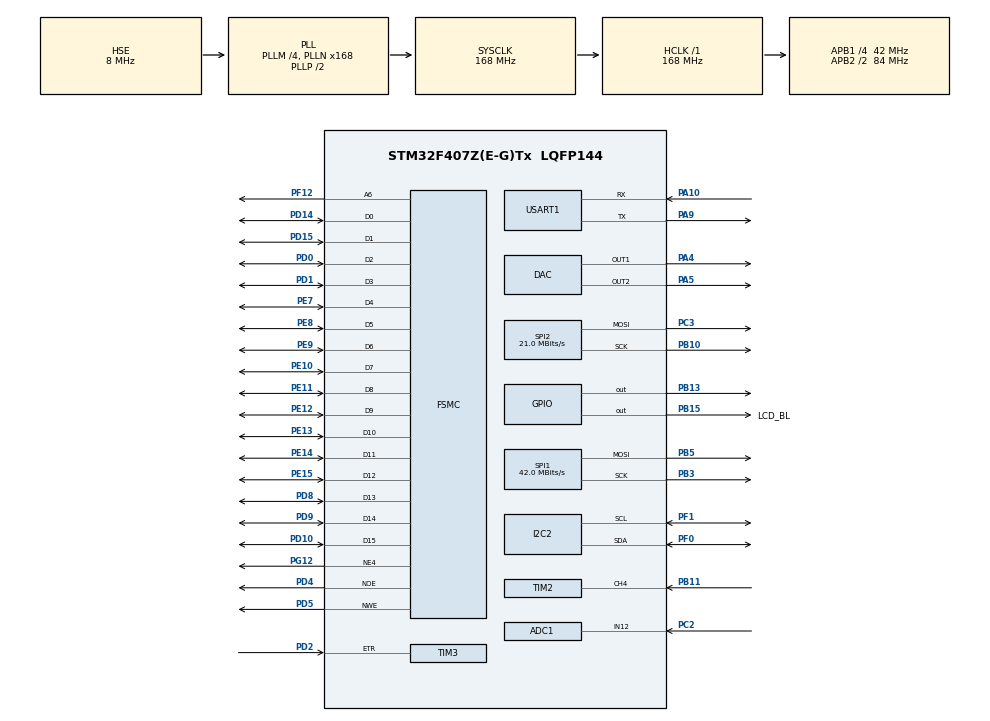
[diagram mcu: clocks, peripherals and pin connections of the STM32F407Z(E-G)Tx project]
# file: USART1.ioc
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ADC1.Channel-1\#ChannelRegularConversion=ADC_CHANNEL_12
ADC1.ClockPrescaler=ADC_CLOCK_SYNC_PCLK_DIV4
ADC1.ContinuousConvMode=DISABLE
ADC1.DMAContinuousRequests=ENABLE
ADC1.DiscontinuousConvMode=ENABLE
ADC1.EOCSelection=ADC_EOC_SEQ_CONV
ADC1.EnableAnalogWatchDog=false
ADC1.ExternalTrigConv=ADC_EXTERNALTRIGCONV_T3_TRGO
ADC1.InjNumberOfConversion=0
ADC1.NbrOfConversion=1
ADC1.NbrOfConversionFlag=1
ADC1.Rank-1\#ChannelRegularConversion=1
ADC1.Resolution=ADC_RESOLUTION_12B
ADC1.SamplingTime-1\#ChannelRegularConversion=ADC_SAMPLETIME_15CYCLES
ADC1.ScanConvMode=ENABLE
ADC1.master=1
DAC.DAC_OutputBuffer=DAC_OUTPUTBUFFER_DISABLE
DAC.DAC_Trigger=DAC_TRIGGER_T5_TRGO
Dma.ADC1.1.Direction=DMA_PERIPH_TO_MEMORY
Dma.ADC1.1.FIFOMode=DMA_FIFOMODE_DISABLE
Dma.ADC1.1.Instance=DMA2_Stream0
Dma.ADC1.1.MemDataAlignment=DMA_MDATAALIGN_HALFWORD
Dma.ADC1.1.MemInc=DMA_MINC_ENABLE
Dma.ADC1.1.Mode=DMA_NORMAL
Dma.ADC1.1.PeriphDataAlignment=DMA_PDATAALIGN_HALFWORD
Dma.ADC1.1.PeriphInc=DMA_PINC_DISABLE
Dma.ADC1.1.Priority=DMA_PRIORITY_LOW
Dma.DAC1.3.Direction=DMA_MEMORY_TO_PERIPH
Dma.DAC1.3.FIFOMode=DMA_FIFOMODE_DISABLE
Dma.DAC1.3.Instance=DMA1_Stream5
Dma.DAC1.3.MemDataAlignment=DMA_MDATAALIGN_HALFWORD
Dma.DAC1.3.MemInc=DMA_MINC_ENABLE
Dma.DAC1.3.Mode=DMA_CIRCULAR
Dma.DAC1.3.PeriphDataAlignment=DMA_PDATAALIGN_HALFWORD
Dma.DAC1.3.PeriphInc=DMA_PINC_DISABLE
Dma.DAC1.3.Priority=DMA_PRIORITY_LOW
Dma.Request0=SPI1_TX
Dma.Request1=ADC1
Dma.Request2=SPI2_TX
Dma.Request3=DAC1
Dma.SPI1_TX.0.Direction=DMA_MEMORY_TO_PERIPH
Dma.SPI1_TX.0.FIFOMode=DMA_FIFOMODE_DISABLE
Dma.SPI1_TX.0.Instance=DMA2_Stream3
Dma.SPI1_TX.0.MemDataAlignment=DMA_MDATAALIGN_BYTE
Dma.SPI1_TX.0.MemInc=DMA_MINC_ENABLE
Dma.SPI1_TX.0.Mode=DMA_NORMAL
Dma.SPI1_TX.0.PeriphDataAlignment=DMA_PDATAALIGN_BYTE
Dma.SPI1_TX.0.PeriphInc=DMA_PINC_DISABLE
Dma.SPI1_TX.0.Priority=DMA_PRIORITY_LOW
Dma.SPI2_TX.2.Direction=DMA_MEMORY_TO_PERIPH
Dma.SPI2_TX.2.FIFOMode=DMA_FIFOMODE_DISABLE
Dma.SPI2_TX.2.Instance=DMA1_Stream4
Dma.SPI2_TX.2.MemDataAlignment=DMA_MDATAALIGN_BYTE
Dma.SPI2_TX.2.MemInc=DMA_MINC_ENABLE
Dma.SPI2_TX.2.Mode=DMA_NORMAL
Dma.SPI2_TX.2.PeriphDataAlignment=DMA_PDATAALIGN_BYTE
Dma.SPI2_TX.2.PeriphInc=DMA_PINC_DISABLE
Dma.SPI2_TX.2.Priority=DMA_PRIORITY_LOW
FSMC.AddressSetupTime1=2
FSMC.BusTurnAroundDuration1=10
FSMC.DataSetupTime1=10
FSMC.ExtendedAddressSetupTime1=3
FSMC.ExtendedBusTurnAroundDuration1=3
FSMC.ExtendedDataSetupTime1=3
FSMC.ExtendedMode1=FSMC_EXTENDED_MODE_ENABLE
Mcu.Family=STM32F4
Mcu.Name=STM32F407Z(E-G)Tx
Mcu.Package=LQFP144
NVIC.ADC_IRQn=true\:3\:0\:true\:false\:true\:true\:true\:true
NVIC.DMA1_Stream4_IRQn=true\:0\:0\:false\:false\:true\:false\:true\:true
NVIC.DMA1_Stream5_IRQn=true\:0\:0\:false\:false\:true\:false\:true\:true
NVIC.DMA2_Stream0_IRQn=true\:0\:0\:false\:false\:true\:false\:true\:true
NVIC.DMA2_Stream3_IRQn=true\:0\:0\:false\:false\:true\:false\:true\:true
NVIC.PriorityGroup=NVIC_PRIORITYGROUP_4
NVIC.TIM2_IRQn=true\:0\:0\:false\:false\:true\:true\:true\:true
NVIC.TIM4_IRQn=true\:13\:0\:true\:false\:true\:true\:true\:true
NVIC.TIM6_DAC_IRQn=true\:0\:0\:false\:false\:true\:true\:true\:true
PA10.Mode=Asynchronous
PA10.Signal=USART1_RX
PA13.Mode=Serial_Wire
PA13.Signal=SYS_JTMS-SWDIO
PA14.Mode=Serial_Wire
PA14.Signal=SYS_JTCK-SWCLK
PA4.Signal=COMP_DAC1_group
PA5.Signal=COMP_DAC2_group
PA9.Mode=Asynchronous
PA9.Signal=USART1_TX
PB10.Mode=TX_Only_Simplex_Unidirect_Master
PB10.Signal=SPI2_SCK
PB11.Signal=S_TIM2_CH4
PB13.Signal=GPIO_Output
PB15.GPIO_Label=LCD_BL
PB15.GPIO_ModeDefaultOutputPP=GPIO_MODE_OUTPUT_PP
PB15.GPIO_PuPd=GPIO_PULLUP
PB15.GPIO_Speed=GPIO_SPEED_FREQ_HIGH
PB15.Signal=GPIO_Output
PB3.Mode=TX_Only_Simplex_Unidirect_Master
PB3.Signal=SPI1_SCK
PB5.Mode=TX_Only_Simplex_Unidirect_Master
PB5.Signal=SPI1_MOSI
PC14-OSC32_IN.Mode=LSE-External-Oscillator
PC14-OSC32_IN.Signal=RCC_OSC32_IN
PC15-OSC32_OUT.Mode=LSE-External-Oscillator
PC15-OSC32_OUT.Signal=RCC_OSC32_OUT
PC2.Signal=ADCx_IN12
PC3.Mode=TX_Only_Simplex_Unidirect_Master
PC3.Signal=SPI2_MOSI
PD0.Signal=FSMC_D2_DA2
PD1.Signal=FSMC_D3_DA3
PD10.Signal=FSMC_D15_DA15
PD14.Signal=FSMC_D0_DA0
PD15.Signal=FSMC_D1_DA1
PD2.Signal=S_TIM3_ETR
PD4.Signal=FSMC_NOE
PD5.Signal=FSMC_NWE
PD8.Signal=FSMC_D13_DA13
PD9.Signal=FSMC_D14_DA14
PE10.Signal=FSMC_D7_DA7
PE11.Signal=FSMC_D8_DA8
PE12.Signal=FSMC_D9_DA9
PE13.Signal=FSMC_D10_DA10
PE14.Signal=FSMC_D11_DA11
PE15.Signal=FSMC_D12_DA12
PE7.Signal=FSMC_D4_DA4
PE8.Signal=FSMC_D5_DA5
PE9.Signal=FSMC_D6_DA6
PF0.Mode=I2C
PF0.Signal=I2C2_SDA
PF1.Mode=I2C
PF1.Signal=I2C2_SCL
PF12.Signal=FSMC_A6
PG12.Mode=NorPsramChipSelect4_1
PG12.Signal=FSMC_NE4
PH0-OSC_IN.Mode=HSE-External-Oscillator
PH0-OSC_IN.Signal=RCC_OSC_IN
PH1-OSC_OUT.Mode=HSE-External-Oscillator
PH1-OSC_OUT.Signal=RCC_OSC_OUT
ProjectManager.HeapSize=0x200
ProjectManager.StackSize=0x400
ProjectManager.TargetToolchain=MDK-ARM V5
RCC.48MHZClocksFreq_Value=48000000
RCC.AHBFreq_Value=168000000
RCC.APB1CLKDivider=RCC_HCLK_DIV4
RCC.APB1Freq_Value=42000000
RCC.APB1TimFreq_Value=84000000
RCC.APB2CLKDivider=RCC_HCLK_DIV2
RCC.APB2Freq_Value=84000000
RCC.APB2TimFreq_Value=168000000
RCC.CortexFreq_Value=168000000
RCC.HCLKFreq_Value=168000000
RCC.HSE_VALUE=8000000
RCC.HSI_VALUE=16000000
RCC.PLLM=4
RCC.PLLN=168
RCC.PLLQ=7
RCC.PLLSourceVirtual=RCC_PLLSOURCE_HSE
RCC.SYSCLKFreq_VALUE=168000000
RCC.SYSCLKSource=RCC_SYSCLKSOURCE_PLLCLK
RCC.VCOOutputFreq_Value=336000000
SH.ADCx_IN12.0=ADC1_IN12,IN12
SH.COMP_DAC1_group.0=DAC_OUT1,DAC_OUT1
SH.COMP_DAC2_group.0=DAC_OUT2,DAC_OUT2
SH.FSMC_A6.0=FSMC_A6,A6_1
SH.FSMC_D0_DA0.0=FSMC_D0,16b-d1
SH.FSMC_D10_DA10.0=FSMC_D10,16b-d1
SH.FSMC_D11_DA11.0=FSMC_D11,16b-d1
SH.FSMC_D12_DA12.0=FSMC_D12,16b-d1
SH.FSMC_D13_DA13.0=FSMC_D13,16b-d1
SH.FSMC_D14_DA14.0=FSMC_D14,16b-d1
SH.FSMC_D15_DA15.0=FSMC_D15,16b-d1
SH.FSMC_D1_DA1.0=FSMC_D1,16b-d1
SH.FSMC_D2_DA2.0=FSMC_D2,16b-d1
SH.FSMC_D3_DA3.0=FSMC_D3,16b-d1
SH.FSMC_D4_DA4.0=FSMC_D4,16b-d1
SH.FSMC_D5_DA5.0=FSMC_D5,16b-d1
SH.FSMC_D6_DA6.0=FSMC_D6,16b-d1
SH.FSMC_D7_DA7.0=FSMC_D7,16b-d1
SH.FSMC_D8_DA8.0=FSMC_D8,16b-d1
SH.FSMC_D9_DA9.0=FSMC_D9,16b-d1
SH.FSMC_NOE.0=FSMC_NOE,Lcd1
SH.FSMC_NWE.0=FSMC_NWE,Lcd1
SH.S_TIM2_CH4.0=TIM2_CH4,Input_Capture4_from_TI4
SH.S_TIM3_ETR.0=TIM3_ETR,ClockSourceETR_Mode2
SPI1.BaudRatePrescaler=SPI_BAUDRATEPRESCALER_2
SPI1.CalculateBaudRate=42.0 MBits/s
SPI1.Direction=SPI_DIRECTION_2LINES
SPI1.Mode=SPI_MODE_MASTER
SPI1.VirtualType=VM_MASTER
SPI2.BaudRatePrescaler=SPI_BAUDRATEPRESCALER_2
SPI2.CalculateBaudRate=21.0 MBits/s
SPI2.Direction=SPI_DIRECTION_2LINES
SPI2.Mode=SPI_MODE_MASTER
SPI2.VirtualType=VM_MASTER
TIM2.AutoReloadPreload=TIM_AUTORELOAD_PRELOAD_ENABLE
TIM2.Channel-Input_Capture4_from_TI4=TIM_CHANNEL_4
TIM3.AutoReloadPreload=TIM_AUTORELOAD_PRELOAD_ENABLE
TIM3.Channel-PWM\ Generation1\ No\ Output=TIM_CHANNEL_1
TIM3.ClockFilter=4
TIM3.Period=2-1
TIM3.Pulse-PWM\ Generation1\ No\ Output=1-1
TIM3.TIM_MasterOutputTrigger=TIM_TRGO_UPDATE
TIM4.AutoReloadPreload=TIM_AUTORELOAD_PRELOAD_ENABLE
TIM4.Period=1000-1
TIM4.Prescaler=84-1
TIM5.AutoReloadPreload=TIM_AUTORELOAD_PRELOAD_ENABLE
TIM5.Period=84-1
TIM5.Prescaler=1-1
TIM5.TIM_MasterOutputTrigger=TIM_TRGO_UPDATE
USART1.VirtualMode=VM_ASYNC
VP_RNG_VS_RNG.Mode=RNG_Activate
VP_TIM2_VS_ClockSourceINT.Mode=Internal
VP_TIM3_VS_no_output1.Mode=PWM Generation1 No Output
VP_TIM4_VS_ClockSourceINT.Mode=Internal
VP_TIM5_VS_ClockSourceINT.Mode=Internal
board=custom

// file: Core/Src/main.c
/* USER CODE BEGIN Header */
/**
  ******************************************************************************
  * @file           : main.c
  * @brief          : Main program body
  ******************************************************************************
  * @attention
  *
  * Copyright (c) 2024 STMicroelectronics.
  * All rights reserved.
  *
  * This software is licensed under terms that can be found in the LICENSE file
  * in the root directory of this software component.
  * If no LICENSE file comes with this software, it is provided AS-IS.
  *
  ******************************************************************************
  */
/* USER CODE END Header */
#include "main.h"
#include "adc.h"
#include "dac.h"
#include "dma.h"
#include "i2c.h"
#include "rng.h"
#include "spi.h"
#include "tim.h"
#include "usart.h"
#include "gpio.h"
#include "fsmc.h"

/* USER CODE BEGIN Includes */

#include "stdio.h"
#include "app.h"

/* USER CODE END Includes */

void SystemClock_Config(void);
/* USER CODE BEGIN PFP */
//void HAL_TIM_PeriodElapsedCallback(TIM_HandleTypeDef* htim){
//    if(htim->Instance==TIM2){
//
//    }
//}

/* USER CODE END PFP */

/* USER CODE BEGIN 0 */

void HAL_TIM_IC_CaptureCallback(TIM_HandleTypeDef *htim)
{

	if(TIM2 == htim->Instance)
	{
		switch(get_capture_flag()){
			case 0:
				set_capture_buff1(HAL_TIM_ReadCapturedValue(&htim2,TIM_CHANNEL_4));//获取当前的捕获值.
				//__HAL_TIM_SET_CAPTUREPOLARITY(&htim5,TIM_CHANNEL_1,TIM_ICPOLARITY_FALLING);  //设置为下降沿捕获
				add_capture_flag();
				break;
			case 1:

				set_capture_buff2( HAL_TIM_ReadCapturedValue(&htim2,TIM_CHANNEL_4));//获取当前的捕获值.
				HAL_TIM_IC_Stop_IT(&htim2,TIM_CHANNEL_4); //停止捕获   或者: __HAL_TIM_DISABLE(&htim5);
				add_capture_flag();
		}
	}
	//printf("ok\n");

}

/* USER CODE END 0 */

int main(void)
{

  /* MCU Configuration--------------------------------------------------------*/

  /* Reset of all peripherals, Initializes the Flash interface and the Systick. */
  HAL_Init();

  /* Configure the system clock */
  SystemClock_Config();

  /* Initialize all configured peripherals */
  MX_GPIO_Init();
  MX_DMA_Init();
  MX_FSMC_Init();
  MX_USART1_UART_Init();
  MX_ADC1_Init();
  MX_SPI1_Init();
  MX_I2C2_Init();
  MX_TIM2_Init();
  MX_DAC_Init();
  MX_RNG_Init();
  MX_TIM3_Init();
  MX_TIM4_Init();
  MX_SPI2_Init();
  MX_TIM5_Init();
  /* USER CODE BEGIN 2 */

	app_init();

  /* USER CODE END 2 */

  /* Infinite loop */
  while (1)
  {

    /* USER CODE BEGIN 3 */
		app_main_loop();

  }
  /* USER CODE END 3 */
}

void SystemClock_Config(void)
{
  RCC_OscInitTypeDef RCC_OscInitStruct = {0};
  RCC_ClkInitTypeDef RCC_ClkInitStruct = {0};

  /** Configure the main internal regulator output voltage
  */
  __HAL_RCC_PWR_CLK_ENABLE();
  __HAL_PWR_VOLTAGESCALING_CONFIG(PWR_REGULATOR_VOLTAGE_SCALE1);

  /** Initializes the RCC Oscillators according to the specified parameters
  * in the RCC_OscInitTypeDef structure.
  */
  RCC_OscInitStruct.OscillatorType = RCC_OSCILLATORTYPE_HSE;
  RCC_OscInitStruct.HSEState = RCC_HSE_ON;
  RCC_OscInitStruct.PLL.PLLState = RCC_PLL_ON;
  RCC_OscInitStruct.PLL.PLLSource = RCC_PLLSOURCE_HSE;
  RCC_OscInitStruct.PLL.PLLM = 4;
  RCC_OscInitStruct.PLL.PLLN = 168;
  RCC_OscInitStruct.PLL.PLLP = RCC_PLLP_DIV2;
  RCC_OscInitStruct.PLL.PLLQ = 7;
  if (HAL_RCC_OscConfig(&RCC_OscInitStruct) != HAL_OK)
  {
    Error_Handler();
  }

  /** Initializes the CPU, AHB and APB buses clocks
  */
  RCC_ClkInitStruct.ClockType = RCC_CLOCKTYPE_HCLK|RCC_CLOCKTYPE_SYSCLK
                              |RCC_CLOCKTYPE_PCLK1|RCC_CLOCKTYPE_PCLK2;
  RCC_ClkInitStruct.SYSCLKSource = RCC_SYSCLKSOURCE_PLLCLK;
  RCC_ClkInitStruct.AHBCLKDivider = RCC_SYSCLK_DIV1;
  RCC_ClkInitStruct.APB1CLKDivider = RCC_HCLK_DIV4;
  RCC_ClkInitStruct.APB2CLKDivider = RCC_HCLK_DIV2;

  if (HAL_RCC_ClockConfig(&RCC_ClkInitStruct, FLASH_LATENCY_5) != HAL_OK)
  {
    Error_Handler();
  }
}

void Error_Handler(void)
{
  __disable_irq();
  while (1)
  {
  }
}
